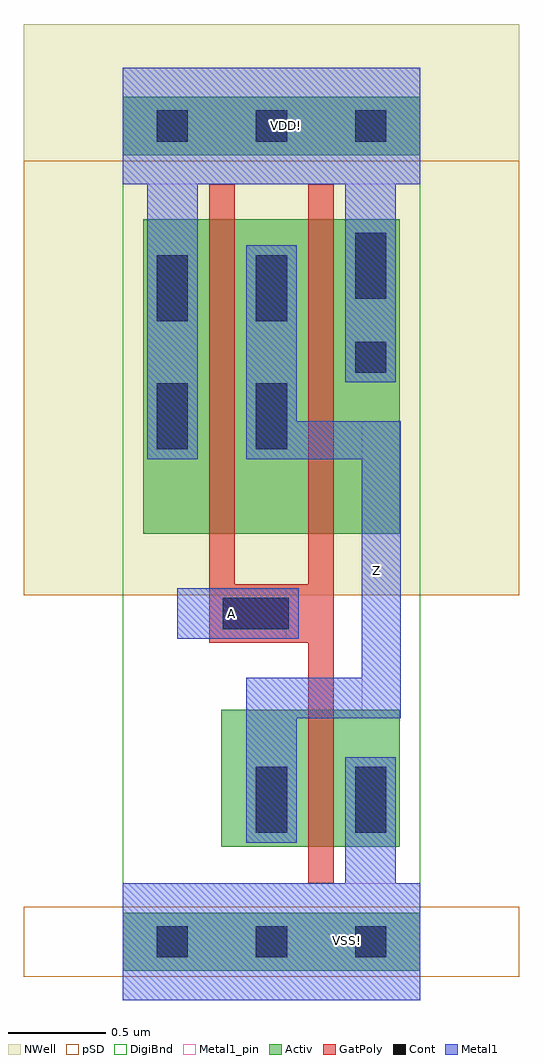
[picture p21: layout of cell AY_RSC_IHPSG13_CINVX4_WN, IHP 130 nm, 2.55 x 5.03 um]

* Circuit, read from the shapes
.subckt AY_RSC_IHPSG13_CINVX4_WN A VDD! VSS! Z
XM1 VSS! A Z VSS! sg13_lv_nmos w=0.705u l=0.13u
XM2 Z A VDD! VDD! sg13_lv_pmos w=1.62u l=0.13u m=2
.ends

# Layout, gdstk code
import gdstk
lib = gdstk.Library(unit=1e-6, precision=1e-09)
def R(c, l, rs):  # rectangles x0, y0, x1, y1
    for r in rs: c.add(gdstk.rectangle(r[:2], r[2:], *l))
def A(c, l, x, y, w, h, nx, ny, dx, dy):  # array of equal rectangles
    R(c, l, [(x+i*dx, y+j*dy, x+i*dx+w, y+j*dy+h) for i in range(nx) for j in range(ny)])
def P(c, l, *ps):  # polygons
    for p in ps: c.add(gdstk.Polygon(p, *l))
Activ = (1, 0)
GatPoly = (5, 0)
Cont = (6, 0)
Metal1 = (8, 0)
Metal1_pin = (8, 2)
pSD = (14, 0)
DigiBnd = (16, 0)
NWell = (31, 0)

ay_rsc_ihpsg13_cinvx4_wn = lib.new_cell('AY_RSC_IHPSG13_CINVX4_WN')
R(ay_rsc_ihpsg13_cinvx4_wn, Activ, [(0,-0.15,1.53,0.15), (0.505,0.49,1.425,1.195), (0.105,2.1,1.425,3.72), (0,4.05,1.53,4.35)])
P(ay_rsc_ihpsg13_cinvx4_wn, GatPoly, [(0.955,0.3),(0.955,1.54),(0.445,1.54),(0.445,3.9),(0.575,3.9),(0.575,1.84),(0.955,1.84),(0.955,3.9),(1.085,3.9),(1.085,0.3)])
A(ay_rsc_ihpsg13_cinvx4_wn, Cont, 0.175, -0.08, 0.16, 0.16, 3, 2, 0.51, 4.2)
R(ay_rsc_ihpsg13_cinvx4_wn, Cont, [(0.685,0.56,0.845,0.9), (1.195,0.56,1.355,0.9), (0.515,1.61,0.855,1.77), (0.175,2.535,0.335,2.875), (0.685,2.535,0.845,2.875), (1.195,2.93,1.355,3.09), (0.175,3.195,0.335,3.535), (0.685,3.195,0.845,3.535), (1.195,3.31,1.355,3.65)])
R(ay_rsc_ihpsg13_cinvx4_wn, Metal1, [(0.28,1.56,0.905,1.82)])
P(ay_rsc_ihpsg13_cinvx4_wn, Metal1, [(0.635,0.51),(0.635,1.36),(1.23,1.36),(1.23,2.485),(0.635,2.485),(0.635,3.585),(0.895,3.585),(0.895,2.68),(1.43,2.68),(1.43,1.15),(0.895,1.15),(0.895,0.51)],
  [(0,-0.3),(0,0.3),(1.145,0.3),(1.145,0.95),(1.405,0.95),(1.405,0.3),(1.53,0.3),(1.53,-0.3)],
  [(0.125,2.485),(0.125,3.9),(0,3.9),(0,4.5),(1.53,4.5),(1.53,3.9),(1.405,3.9),(1.405,2.88),(1.145,2.88),(1.145,3.9),(0.385,3.9),(0.385,2.485)])
R(ay_rsc_ihpsg13_cinvx4_wn, Metal1_pin, [(0,-0.3,1.53,0.3), (1.23,1.15,1.43,2.68), (0.28,1.56,0.84,1.82), (0,3.9,1.53,4.5)])
R(ay_rsc_ihpsg13_cinvx4_wn, pSD, [(-0.51,-0.18,2.04,0.18), (-0.51,1.785,2.04,4.02)])
R(ay_rsc_ihpsg13_cinvx4_wn, DigiBnd, [(0,-0.3,1.53,4.5)])
R(ay_rsc_ihpsg13_cinvx4_wn, NWell, [(-0.51,1.785,2.04,4.725)])
ay_rsc_ihpsg13_cinvx4_wn.add(gdstk.Label('Z', (1.305,1.91), layer=8, texttype=2))
ay_rsc_ihpsg13_cinvx4_wn.add(gdstk.Label('A', (0.56,1.69), layer=8, texttype=2))
ay_rsc_ihpsg13_cinvx4_wn.add(gdstk.Label('VSS!', (1.155,0.005), layer=8, texttype=2))
ay_rsc_ihpsg13_cinvx4_wn.add(gdstk.Label('VDD!', (0.84,4.2), layer=8, texttype=2))

lib.write_gds('AY_RSC_IHPSG13_CINVX4_WN.gds')
